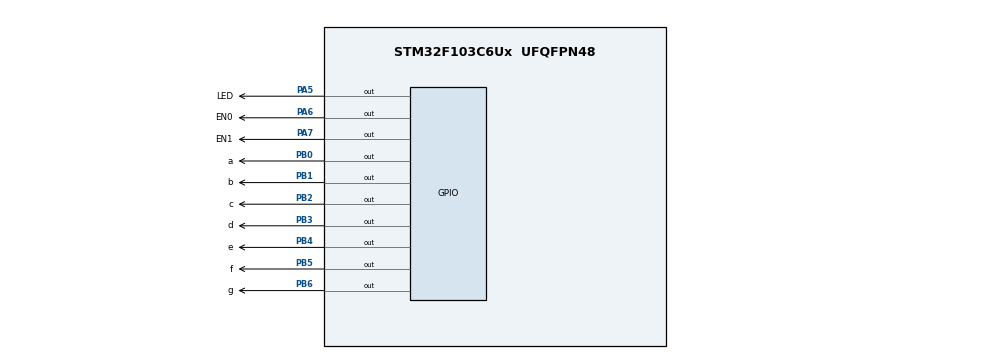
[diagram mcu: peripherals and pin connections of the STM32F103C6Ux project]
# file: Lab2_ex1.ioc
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Mcu.Family=STM32F1
Mcu.Name=STM32F103C6Ux
Mcu.Package=UFQFPN48
NVIC.PriorityGroup=NVIC_PRIORITYGROUP_4
NVIC.TIM2_IRQn=true\:0\:0\:false\:false\:true\:true\:true
PA5.GPIO_Label=LED
PA5.Signal=GPIO_Output
PA6.GPIO_Label=EN0
PA6.Signal=GPIO_Output
PA7.GPIO_Label=EN1
PA7.Signal=GPIO_Output
PB0.GPIO_Label=a
PB0.Signal=GPIO_Output
PB1.GPIO_Label=b
PB1.Signal=GPIO_Output
PB2.GPIO_Label=c
PB2.Signal=GPIO_Output
PB3.GPIO_Label=d
PB3.Signal=GPIO_Output
PB4.GPIO_Label=e
PB4.Signal=GPIO_Output
PB5.GPIO_Label=f
PB5.Signal=GPIO_Output
PB6.GPIO_Label=g
PB6.Signal=GPIO_Output
ProjectManager.HeapSize=0x200
ProjectManager.StackSize=0x400
ProjectManager.TargetToolchain=STM32CubeIDE
RCC.APB1Freq_Value=8000000
RCC.APB2Freq_Value=8000000
TIM2.Period=9
TIM2.Prescaler=7999
VP_SYS_VS_ND.Mode=No_Debug
VP_TIM2_VS_ClockSourceINT.Mode=Internal
board=custom

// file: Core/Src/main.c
/* USER CODE BEGIN Header */
/**
  ******************************************************************************
  * @file           : main.c
  * @brief          : Main program body
  ******************************************************************************
  * @attention
  *
  * <h2><center>&copy; Copyright (c) 2022 STMicroelectronics.
  * All rights reserved.</center></h2>
  *
  * This software component is licensed by ST under BSD 3-Clause license,
  * the "License"; You may not use this file except in compliance with the
  * License. You may obtain a copy of the License at:
  *                        opensource.org/licenses/BSD-3-Clause
  *
  ******************************************************************************
  */
/* USER CODE END Header */
#include "main.h"

TIM_HandleTypeDef htim2;

void SystemClock_Config(void);
static void MX_TIM2_Init(void);
static void MX_GPIO_Init(void);

/* USER CODE BEGIN 0 */
 void display7SEG(int num){
		  // VARIABLES a,b,c,d,e,f,g ARE DEFINED BY THESE SPECIFIC DESCRIPTION ABOVE.
		  // DISLAY NUMBER 0
			if(num == 0){
				HAL_GPIO_WritePin (  a_GPIO_Port , a_Pin ,GPIO_PIN_RESET );
				HAL_GPIO_WritePin ( b_GPIO_Port , b_Pin ,GPIO_PIN_RESET );
				HAL_GPIO_WritePin ( d_GPIO_Port , c_Pin ,GPIO_PIN_RESET );
				HAL_GPIO_WritePin ( c_GPIO_Port ,	d_Pin ,GPIO_PIN_RESET );
				HAL_GPIO_WritePin ( e_GPIO_Port , e_Pin ,GPIO_PIN_RESET );
				HAL_GPIO_WritePin ( f_GPIO_Port , f_Pin ,GPIO_PIN_RESET );
				HAL_GPIO_WritePin ( g_GPIO_Port , g_Pin ,GPIO_PIN_SET );
			}
			// DISLAY NUMBER 1
			else if(num == 1){
				HAL_GPIO_WritePin ( a_GPIO_Port , a_Pin ,GPIO_PIN_SET );
				HAL_GPIO_WritePin ( b_GPIO_Port , b_Pin ,GPIO_PIN_RESET );
				HAL_GPIO_WritePin ( c_GPIO_Port , c_Pin ,GPIO_PIN_RESET );
				HAL_GPIO_WritePin ( d_GPIO_Port ,	d_Pin ,GPIO_PIN_SET );
				HAL_GPIO_WritePin ( e_GPIO_Port , e_Pin ,GPIO_PIN_SET );
				HAL_GPIO_WritePin ( f_GPIO_Port , f_Pin ,GPIO_PIN_SET );
				HAL_GPIO_WritePin ( g_GPIO_Port , g_Pin ,GPIO_PIN_SET );
			}
			// DISLAY NUMBER 2
			else if(num == 2){
					HAL_GPIO_WritePin ( a_GPIO_Port , a_Pin ,GPIO_PIN_RESET );
					HAL_GPIO_WritePin ( b_GPIO_Port , b_Pin ,GPIO_PIN_RESET );
					HAL_GPIO_WritePin ( c_GPIO_Port , c_Pin ,GPIO_PIN_SET );
					HAL_GPIO_WritePin ( d_GPIO_Port ,	d_Pin ,GPIO_PIN_RESET );
					HAL_GPIO_WritePin ( e_GPIO_Port , e_Pin ,GPIO_PIN_RESET );
					HAL_GPIO_WritePin ( f_GPIO_Port , f_Pin ,GPIO_PIN_SET );
					HAL_GPIO_WritePin ( g_GPIO_Port , g_Pin ,GPIO_PIN_RESET );
				}
		    // DISLAY NUMBER 3
			else if(num == 3){
				HAL_GPIO_WritePin ( a_GPIO_Port , a_Pin ,GPIO_PIN_RESET );
				HAL_GPIO_WritePin ( b_GPIO_Port , b_Pin ,GPIO_PIN_RESET );
				HAL_GPIO_WritePin ( c_GPIO_Port , c_Pin ,GPIO_PIN_RESET );
				HAL_GPIO_WritePin ( d_GPIO_Port ,	d_Pin ,GPIO_PIN_RESET );
				HAL_GPIO_WritePin ( e_GPIO_Port , e_Pin ,GPIO_PIN_SET );
				HAL_GPIO_WritePin ( f_GPIO_Port , f_Pin ,GPIO_PIN_SET );
				HAL_GPIO_WritePin ( g_GPIO_Port , g_Pin ,GPIO_PIN_RESET );
			}
			// DISLAY NUMBER 4
			else if(num == 4){
				HAL_GPIO_WritePin ( a_GPIO_Port , a_Pin ,GPIO_PIN_SET );
				HAL_GPIO_WritePin ( b_GPIO_Port , b_Pin ,GPIO_PIN_RESET );
				HAL_GPIO_WritePin ( c_GPIO_Port , c_Pin ,GPIO_PIN_RESET );
				HAL_GPIO_WritePin ( d_GPIO_Port ,	d_Pin ,GPIO_PIN_SET );
				HAL_GPIO_WritePin ( e_GPIO_Port , e_Pin ,GPIO_PIN_SET );
				HAL_GPIO_WritePin ( f_GPIO_Port , f_Pin ,GPIO_PIN_RESET );
				HAL_GPIO_WritePin ( g_GPIO_Port , g_Pin ,GPIO_PIN_RESET );
			}
			// DISLAY NUMBER 5
			else if(num == 5){
				HAL_GPIO_WritePin ( a_GPIO_Port , a_Pin ,GPIO_PIN_RESET );
				HAL_GPIO_WritePin ( b_GPIO_Port , b_Pin ,GPIO_PIN_SET );
				HAL_GPIO_WritePin ( c_GPIO_Port , c_Pin ,GPIO_PIN_RESET );
				HAL_GPIO_WritePin ( d_GPIO_Port ,	d_Pin ,GPIO_PIN_RESET );
				HAL_GPIO_WritePin ( e_GPIO_Port , e_Pin ,GPIO_PIN_SET );
				HAL_GPIO_WritePin ( f_GPIO_Port , f_Pin ,GPIO_PIN_RESET );
				HAL_GPIO_WritePin ( g_GPIO_Port , g_Pin ,GPIO_PIN_RESET );
			}
			// DISLAY NUMBER 6
			else if(num == 6){
				HAL_GPIO_WritePin ( a_GPIO_Port , a_Pin ,GPIO_PIN_RESET );
				HAL_GPIO_WritePin ( b_GPIO_Port , b_Pin ,GPIO_PIN_SET );
				HAL_GPIO_WritePin ( c_GPIO_Port , c_Pin ,GPIO_PIN_RESET );
				HAL_GPIO_WritePin ( d_GPIO_Port ,	d_Pin ,GPIO_PIN_RESET );
				HAL_GPIO_WritePin ( e_GPIO_Port , e_Pin ,GPIO_PIN_RESET );
				HAL_GPIO_WritePin ( f_GPIO_Port , f_Pin ,GPIO_PIN_RESET );
				HAL_GPIO_WritePin ( g_GPIO_Port , g_Pin ,GPIO_PIN_RESET );
			}
			// DISLAY NUMBER 7
			else if(num == 7){
				HAL_GPIO_WritePin ( a_GPIO_Port , a_Pin ,GPIO_PIN_RESET );
				HAL_GPIO_WritePin ( b_GPIO_Port , b_Pin ,GPIO_PIN_RESET );
				HAL_GPIO_WritePin ( c_GPIO_Port , c_Pin ,GPIO_PIN_RESET );
				HAL_GPIO_WritePin ( d_GPIO_Port ,	d_Pin ,GPIO_PIN_SET );
				HAL_GPIO_WritePin ( e_GPIO_Port , e_Pin ,GPIO_PIN_SET );
				HAL_GPIO_WritePin ( f_GPIO_Port , f_Pin ,GPIO_PIN_SET );
				HAL_GPIO_WritePin ( g_GPIO_Port , g_Pin ,GPIO_PIN_SET );
			}
			// DISLAY NUMBER 8
			else if(num == 8){
				HAL_GPIO_WritePin ( a_GPIO_Port , a_Pin ,GPIO_PIN_RESET );
				HAL_GPIO_WritePin ( b_GPIO_Port , b_Pin ,GPIO_PIN_RESET );
				HAL_GPIO_WritePin ( c_GPIO_Port , c_Pin ,GPIO_PIN_RESET );
				HAL_GPIO_WritePin ( d_GPIO_Port ,	d_Pin ,GPIO_PIN_RESET );
				HAL_GPIO_WritePin ( e_GPIO_Port , e_Pin ,GPIO_PIN_RESET );
				HAL_GPIO_WritePin ( f_GPIO_Port , f_Pin ,GPIO_PIN_RESET );
				HAL_GPIO_WritePin ( g_GPIO_Port , g_Pin ,GPIO_PIN_RESET );
			}
			// DISLAY NUMBER 9
			else if(num == 9){
				HAL_GPIO_WritePin ( a_GPIO_Port , a_Pin ,GPIO_PIN_RESET );
				HAL_GPIO_WritePin ( b_GPIO_Port , b_Pin ,GPIO_PIN_RESET );
				HAL_GPIO_WritePin ( c_GPIO_Port , c_Pin ,GPIO_PIN_RESET );
				HAL_GPIO_WritePin ( d_GPIO_Port ,	d_Pin ,GPIO_PIN_RESET );
				HAL_GPIO_WritePin ( e_GPIO_Port , e_Pin ,GPIO_PIN_SET );
				HAL_GPIO_WritePin ( f_GPIO_Port , f_Pin ,GPIO_PIN_RESET );
				HAL_GPIO_WritePin ( g_GPIO_Port , g_Pin ,GPIO_PIN_RESET );
			}
	}

/* USER CODE END 0 */

int main(void)
{

  /* MCU Configuration--------------------------------------------------------*/

  /* Reset of all peripherals, Initializes the Flash interface and the Systick. */
  HAL_Init();

  /* Configure the system clock */
  SystemClock_Config();

  /* Initialize all configured peripherals */
  MX_TIM2_Init();
  MX_GPIO_Init();
  /* USER CODE BEGIN 2 */
  HAL_TIM_Base_Start_IT(&htim2);
  /* USER CODE END 2 */

  /* Infinite loop */
  while (1)
  {

  }
}

void SystemClock_Config(void)
{
  RCC_OscInitTypeDef RCC_OscInitStruct = {0};
  RCC_ClkInitTypeDef RCC_ClkInitStruct = {0};

  /** Initializes the RCC Oscillators according to the specified parameters
  * in the RCC_OscInitTypeDef structure.
  */
  RCC_OscInitStruct.OscillatorType = RCC_OSCILLATORTYPE_HSI;
  RCC_OscInitStruct.HSIState = RCC_HSI_ON;
  RCC_OscInitStruct.HSICalibrationValue = RCC_HSICALIBRATION_DEFAULT;
  RCC_OscInitStruct.PLL.PLLState = RCC_PLL_NONE;
  if (HAL_RCC_OscConfig(&RCC_OscInitStruct) != HAL_OK)
  {
    Error_Handler();
  }
  /** Initializes the CPU, AHB and APB buses clocks
  */
  RCC_ClkInitStruct.ClockType = RCC_CLOCKTYPE_HCLK|RCC_CLOCKTYPE_SYSCLK
                              |RCC_CLOCKTYPE_PCLK1|RCC_CLOCKTYPE_PCLK2;
  RCC_ClkInitStruct.SYSCLKSource = RCC_SYSCLKSOURCE_HSI;
  RCC_ClkInitStruct.AHBCLKDivider = RCC_SYSCLK_DIV1;
  RCC_ClkInitStruct.APB1CLKDivider = RCC_HCLK_DIV1;
  RCC_ClkInitStruct.APB2CLKDivider = RCC_HCLK_DIV1;

  if (HAL_RCC_ClockConfig(&RCC_ClkInitStruct, FLASH_LATENCY_0) != HAL_OK)
  {
    Error_Handler();
  }
}

static void MX_TIM2_Init(void)
{

  TIM_ClockConfigTypeDef sClockSourceConfig = {0};
  TIM_MasterConfigTypeDef sMasterConfig = {0};

  htim2.Instance = TIM2;
  htim2.Init.Prescaler = 7999;
  htim2.Init.CounterMode = TIM_COUNTERMODE_UP;
  htim2.Init.Period = 9;
  htim2.Init.ClockDivision = TIM_CLOCKDIVISION_DIV1;
  htim2.Init.AutoReloadPreload = TIM_AUTORELOAD_PRELOAD_DISABLE;
  if (HAL_TIM_Base_Init(&htim2) != HAL_OK)
  {
    Error_Handler();
  }
  sClockSourceConfig.ClockSource = TIM_CLOCKSOURCE_INTERNAL;
  if (HAL_TIM_ConfigClockSource(&htim2, &sClockSourceConfig) != HAL_OK)
  {
    Error_Handler();
  }
  sMasterConfig.MasterOutputTrigger = TIM_TRGO_RESET;
  sMasterConfig.MasterSlaveMode = TIM_MASTERSLAVEMODE_DISABLE;
  if (HAL_TIMEx_MasterConfigSynchronization(&htim2, &sMasterConfig) != HAL_OK)
  {
    Error_Handler();
  }

}

static void MX_GPIO_Init(void)
{
  GPIO_InitTypeDef GPIO_InitStruct = {0};

  /* GPIO Ports Clock Enable */
  __HAL_RCC_GPIOA_CLK_ENABLE();
  __HAL_RCC_GPIOB_CLK_ENABLE();

  /*Configure GPIO pin Output Level */
  HAL_GPIO_WritePin(GPIOA, LED_Pin|EN0_Pin|EN1_Pin, GPIO_PIN_RESET);

  /*Configure GPIO pin Output Level */
  HAL_GPIO_WritePin(GPIOB, a_Pin|b_Pin|c_Pin|d_Pin
                          |e_Pin|f_Pin|g_Pin, GPIO_PIN_RESET);

  /*Configure GPIO pins : LED_Pin EN0_Pin EN1_Pin */
  GPIO_InitStruct.Pin = LED_Pin|EN0_Pin|EN1_Pin;
  GPIO_InitStruct.Mode = GPIO_MODE_OUTPUT_PP;
  GPIO_InitStruct.Pull = GPIO_NOPULL;
  GPIO_InitStruct.Speed = GPIO_SPEED_FREQ_LOW;
  HAL_GPIO_Init(GPIOA, &GPIO_InitStruct);

  /*Configure GPIO pins : a_Pin b_Pin c_Pin d_Pin
                           e_Pin f_Pin g_Pin */
  GPIO_InitStruct.Pin = a_Pin|b_Pin|c_Pin|d_Pin
                          |e_Pin|f_Pin|g_Pin;
  GPIO_InitStruct.Mode = GPIO_MODE_OUTPUT_PP;
  GPIO_InitStruct.Pull = GPIO_NOPULL;
  GPIO_InitStruct.Speed = GPIO_SPEED_FREQ_LOW;
  HAL_GPIO_Init(GPIOB, &GPIO_InitStruct);

}

/* USER CODE BEGIN 4 */
int counter = 50;
int signal = 1;
void HAL_TIM_PeriodElapsedCallback(TIM_HandleTypeDef *htim){
	counter--;
	if(counter <= 0){
		HAL_GPIO_TogglePin(GPIOA,LED_Pin);
		counter = 50;
		switch (signal){
			case 1:
				HAL_GPIO_WritePin(GPIOA, EN0_Pin, GPIO_PIN_RESET);
				HAL_GPIO_WritePin(GPIOA, EN1_Pin, GPIO_PIN_SET);
				display7SEG(1);
				signal = 2;
				break;
			case 2:
				HAL_GPIO_WritePin(GPIOA, EN0_Pin, GPIO_PIN_SET);
				HAL_GPIO_WritePin(GPIOA, EN1_Pin, GPIO_PIN_RESET);
				display7SEG(2);
				signal = 1;
				break;
			default:
				break;
	}
}
}

/* USER CODE END 4 */

void Error_Handler(void)
{
  __disable_irq();
  while (1)
  {
  }
}

/************************ (C) COPYRIGHT STMicroelectronics *****END OF FILE****/
